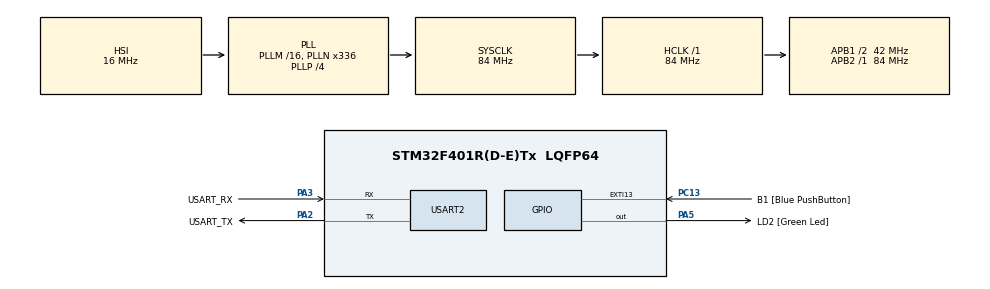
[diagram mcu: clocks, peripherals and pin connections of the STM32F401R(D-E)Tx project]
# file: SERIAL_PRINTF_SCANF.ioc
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Mcu.Family=STM32F4
Mcu.Name=STM32F401R(D-E)Tx
Mcu.Package=LQFP64
NVIC.EXTI15_10_IRQn=true\:0\:0\:false\:false\:true\:true\:true
NVIC.PriorityGroup=NVIC_PRIORITYGROUP_0
NVIC.USART2_IRQn=true\:0\:0\:false\:false\:true\:true\:true
PA13.GPIO_Label=TMS
PA13.Mode=Serial_Wire
PA13.Signal=SYS_JTMS-SWDIO
PA14.GPIO_Label=TCK
PA14.Mode=Serial_Wire
PA14.Signal=SYS_JTCK-SWCLK
PA2.GPIO_Label=USART_TX
PA2.GPIO_Mode=GPIO_MODE_AF_PP
PA2.GPIO_PuPd=GPIO_NOPULL
PA2.GPIO_Speed=GPIO_SPEED_FREQ_LOW
PA2.Mode=Asynchronous
PA2.Signal=USART2_TX
PA3.GPIO_Label=USART_RX
PA3.GPIO_Mode=GPIO_MODE_AF_PP
PA3.GPIO_PuPd=GPIO_NOPULL
PA3.GPIO_Speed=GPIO_SPEED_FREQ_LOW
PA3.Mode=Asynchronous
PA3.Signal=USART2_RX
PA5.GPIO_Label=LD2 [Green Led]
PA5.GPIO_Mode=GPIO_MODE_OUTPUT_PP
PA5.GPIO_PuPd=GPIO_NOPULL
PA5.GPIO_Speed=GPIO_SPEED_FREQ_LOW
PA5.Signal=GPIO_Output
PB3.GPIO_Label=SWO
PB3.Signal=SYS_JTDO-SWO
PC13-ANTI_TAMP.GPIO_Label=B1 [Blue PushButton]
PC13-ANTI_TAMP.GPIO_ModeDefaultEXTI=GPIO_MODE_IT_FALLING
PC13-ANTI_TAMP.GPIO_PuPd=GPIO_NOPULL
PC13-ANTI_TAMP.Signal=GPXTI13
PC14-OSC32_IN.Mode=LSE-External-Oscillator
PC14-OSC32_IN.Signal=RCC_OSC32_IN
PC15-OSC32_OUT.Mode=LSE-External-Oscillator
PC15-OSC32_OUT.Signal=RCC_OSC32_OUT
PH0\ -\ OSC_IN.Mode=HSE-External-Clock-Source
PH0\ -\ OSC_IN.Signal=RCC_OSC_IN
PH1\ -\ OSC_OUT.Mode=HSE-External-Clock-Source
PH1\ -\ OSC_OUT.Signal=RCC_OSC_OUT
ProjectManager.HeapSize=0x200
ProjectManager.StackSize=0x400
ProjectManager.TargetToolchain=STM32CubeIDE
RCC.48MHZClocksFreq_Value=48000000
RCC.AHBFreq_Value=84000000
RCC.APB1CLKDivider=RCC_HCLK_DIV2
RCC.APB1Freq_Value=42000000
RCC.APB1TimFreq_Value=84000000
RCC.APB2Freq_Value=84000000
RCC.APB2TimFreq_Value=84000000
RCC.CortexFreq_Value=84000000
RCC.HCLKFreq_Value=84000000
RCC.HSE_VALUE=8000000
RCC.HSI_VALUE=16000000
RCC.PLLN=336
RCC.PLLP=RCC_PLLP_DIV4
RCC.PLLQ=7
RCC.SYSCLKFreq_VALUE=84000000
RCC.SYSCLKSource=RCC_SYSCLKSOURCE_PLLCLK
RCC.VCOOutputFreq_Value=336000000
USART2.VirtualMode=VM_ASYNC
board=NUCLEO-F401RE

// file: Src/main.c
/* USER CODE BEGIN Header */
/**
  ******************************************************************************
  * @file           : main.c
  * @brief          : Main program body
  ******************************************************************************
  * @attention
  *
  * <h2><center>&copy; Copyright (c) 2020 STMicroelectronics.
  * All rights reserved.</center></h2>
  *
  * This software component is licensed by ST under BSD 3-Clause license,
  * the "License"; You may not use this file except in compliance with the
  * License. You may obtain a copy of the License at:
  *                        opensource.org/licenses/BSD-3-Clause
  *
  ******************************************************************************
  */
/* USER CODE END Header */

#include "main.h"

/* USER CODE BEGIN Includes */
#include <stdio.h>
/* USER CODE END Includes */

UART_HandleTypeDef huart2;

/* USER CODE BEGIN PV */
uint8_t recv_buf[2] = {0,0};
uint8_t recv_flag;
int16_t bnt_cnt = 0;
/* USER CODE END PV */

void SystemClock_Config(void);
static void MX_GPIO_Init(void);
static void MX_USART2_UART_Init(void);

int main(void)
{
  /* USER CODE BEGIN 1 */
	float getData;
	int i;
  /* USER CODE END 1 */

  /* MCU Configuration--------------------------------------------------------*/

  /* Reset of all peripherals, Initializes the Flash interface and the Systick. */
  HAL_Init();

  /* Configure the system clock */
  SystemClock_Config();

  /* Initialize all configured peripherals */
  MX_GPIO_Init();
  MX_USART2_UART_Init();
  /* USER CODE BEGIN 2 */
  printf("Scanf Test\r\n");
  /* USER CODE END 2 */

  /* Infinite loop */
  while (1)
  {

    /* USER CODE BEGIN 3 */
	  //getData = __io_getchar();
	  scanf("%f", &getData);
	  for(i=0; i<getData; i++)
	  {
		  HAL_GPIO_WritePin(GPIOA, GPIO_PIN_5, GPIO_PIN_SET);
		  HAL_Delay(500);
		  HAL_GPIO_WritePin(GPIOA, GPIO_PIN_5, GPIO_PIN_RESET);
		  HAL_Delay(500);
	  }
	  printf("%f\r\n", getData);
  }
  /* USER CODE END 3 */
}

void SystemClock_Config(void)
{
  RCC_OscInitTypeDef RCC_OscInitStruct = {0};
  RCC_ClkInitTypeDef RCC_ClkInitStruct = {0};

  /** Configure the main internal regulator output voltage
  */
  __HAL_RCC_PWR_CLK_ENABLE();
  __HAL_PWR_VOLTAGESCALING_CONFIG(PWR_REGULATOR_VOLTAGE_SCALE2);
  /** Initializes the CPU, AHB and APB busses clocks
  */
  RCC_OscInitStruct.OscillatorType = RCC_OSCILLATORTYPE_HSI;
  RCC_OscInitStruct.HSIState = RCC_HSI_ON;
  RCC_OscInitStruct.HSICalibrationValue = RCC_HSICALIBRATION_DEFAULT;
  RCC_OscInitStruct.PLL.PLLState = RCC_PLL_ON;
  RCC_OscInitStruct.PLL.PLLSource = RCC_PLLSOURCE_HSI;
  RCC_OscInitStruct.PLL.PLLM = 16;
  RCC_OscInitStruct.PLL.PLLN = 336;
  RCC_OscInitStruct.PLL.PLLP = RCC_PLLP_DIV4;
  RCC_OscInitStruct.PLL.PLLQ = 7;
  if (HAL_RCC_OscConfig(&RCC_OscInitStruct) != HAL_OK)
  {
    Error_Handler();
  }
  /** Initializes the CPU, AHB and APB busses clocks
  */
  RCC_ClkInitStruct.ClockType = RCC_CLOCKTYPE_HCLK|RCC_CLOCKTYPE_SYSCLK
                              |RCC_CLOCKTYPE_PCLK1|RCC_CLOCKTYPE_PCLK2;
  RCC_ClkInitStruct.SYSCLKSource = RCC_SYSCLKSOURCE_PLLCLK;
  RCC_ClkInitStruct.AHBCLKDivider = RCC_SYSCLK_DIV1;
  RCC_ClkInitStruct.APB1CLKDivider = RCC_HCLK_DIV2;
  RCC_ClkInitStruct.APB2CLKDivider = RCC_HCLK_DIV1;

  if (HAL_RCC_ClockConfig(&RCC_ClkInitStruct, FLASH_LATENCY_2) != HAL_OK)
  {
    Error_Handler();
  }
}

static void MX_USART2_UART_Init(void)
{

  huart2.Instance = USART2;
  huart2.Init.BaudRate = 115200;
  huart2.Init.WordLength = UART_WORDLENGTH_8B;
  huart2.Init.StopBits = UART_STOPBITS_1;
  huart2.Init.Parity = UART_PARITY_NONE;
  huart2.Init.Mode = UART_MODE_TX_RX;
  huart2.Init.HwFlowCtl = UART_HWCONTROL_NONE;
  huart2.Init.OverSampling = UART_OVERSAMPLING_16;
  if (HAL_UART_Init(&huart2) != HAL_OK)
  {
    Error_Handler();
  }

}

static void MX_GPIO_Init(void)
{
  GPIO_InitTypeDef GPIO_InitStruct = {0};

  /* GPIO Ports Clock Enable */
  __HAL_RCC_GPIOC_CLK_ENABLE();
  __HAL_RCC_GPIOH_CLK_ENABLE();
  __HAL_RCC_GPIOA_CLK_ENABLE();
  __HAL_RCC_GPIOB_CLK_ENABLE();

  /*Configure GPIO pin Output Level */
  HAL_GPIO_WritePin(LD2_GPIO_Port, LD2_Pin, GPIO_PIN_RESET);

  /*Configure GPIO pin : B1_Pin */
  GPIO_InitStruct.Pin = B1_Pin;
  GPIO_InitStruct.Mode = GPIO_MODE_IT_FALLING;
  GPIO_InitStruct.Pull = GPIO_NOPULL;
  HAL_GPIO_Init(B1_GPIO_Port, &GPIO_InitStruct);

  /*Configure GPIO pin : LD2_Pin */
  GPIO_InitStruct.Pin = LD2_Pin;
  GPIO_InitStruct.Mode = GPIO_MODE_OUTPUT_PP;
  GPIO_InitStruct.Pull = GPIO_NOPULL;
  GPIO_InitStruct.Speed = GPIO_SPEED_FREQ_LOW;
  HAL_GPIO_Init(LD2_GPIO_Port, &GPIO_InitStruct);

  /* EXTI interrupt init*/
  HAL_NVIC_SetPriority(EXTI15_10_IRQn, 0, 0);
  HAL_NVIC_EnableIRQ(EXTI15_10_IRQn);

}

/* USER CODE BEGIN 4 */
int __io_putchar(int ch)
{
	uint8_t buf[2];
	buf[0] = ch;
	HAL_UART_Transmit(&huart2, buf, 1, 1000);
	return 0;
}
int _write(int file, char *ptr, int len)
{
	HAL_UART_Transmit(&huart2, (uint8_t *)ptr, len, 100);
	return len;
}
int __io_getchar()
{
	HAL_UART_Receive_IT(&huart2, recv_buf, 1);//INT
	while(recv_flag == 0);
	recv_flag = 0;
	return recv_buf[0];
}
int _read(int file, char *ptr, int len)
{
	int DataIdx = 0;
	char data;
	do
	{
		data = __io_getchar();
		__io_putchar(data);
		*ptr++ = data;
		DataIdx++;
	}
	while( data != '\r' && data != '\n');
	__io_putchar('\n');

	return DataIdx;
}
void HAL_UART_RxCpltCallback(UART_HandleTypeDef *huart)
{
	recv_flag = 1;
}
void HAL_GPIO_EXTI_Callback(uint16_t GPIO_Pin)
{
	bnt_cnt++;
	printf("btn press : %d\r\n", bnt_cnt);
}
/* USER CODE END 4 */

void Error_Handler(void)
{
}

/************************ (C) COPYRIGHT STMicroelectronics *****END OF FILE****/
